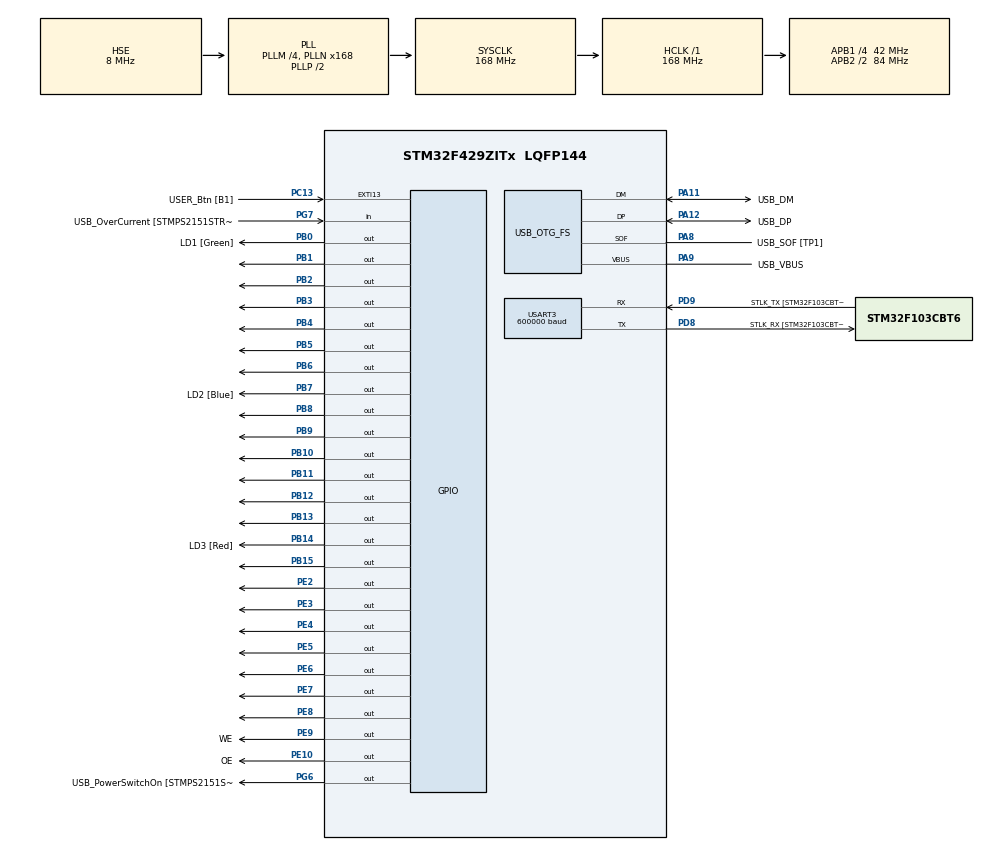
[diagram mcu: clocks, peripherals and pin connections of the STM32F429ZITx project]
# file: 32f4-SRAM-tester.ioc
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Mcu.Family=STM32F4
Mcu.Name=STM32F429ZITx
Mcu.Package=LQFP144
NVIC.PriorityGroup=NVIC_PRIORITYGROUP_4
PA1.GPIO_Label=RMII_REF_CLK [LAN8742A-CZ-TR_REFCLK0]
PA1.Signal=ETH_REF_CLK
PA10.GPIO_Label=USB_ID
PA10.Signal=USB_OTG_FS_ID
PA11.GPIO_Label=USB_DM
PA11.Mode=Device_Only
PA11.Signal=USB_OTG_FS_DM
PA12.GPIO_Label=USB_DP
PA12.Mode=Device_Only
PA12.Signal=USB_OTG_FS_DP
PA13.GPIO_Label=TMS
PA13.Mode=Serial_Wire
PA13.Signal=SYS_JTMS-SWDIO
PA14.GPIO_Label=TCK
PA14.Mode=Serial_Wire
PA14.Signal=SYS_JTCK-SWCLK
PA2.GPIO_Label=RMII_MDIO [LAN8742A-CZ-TR_MDIO]
PA2.Signal=ETH_MDIO
PA7.GPIO_Label=RMII_CRS_DV [LAN8742A-CZ-TR_CRS_DV]
PA7.Signal=ETH_CRS_DV
PA8.GPIO_Label=USB_SOF [TP1]
PA8.Mode=Activate_SOF_FS
PA8.Signal=USB_OTG_FS_SOF
PA9.GPIO_Label=USB_VBUS
PA9.Mode=Activate_VBUS
PA9.Signal=USB_OTG_FS_VBUS
PB0.GPIO_Label=LD1 [Green]
PB0.Signal=GPIO_Output
PB1.Signal=GPIO_Output
PB10.Signal=GPIO_Output
PB11.Signal=GPIO_Output
PB12.Signal=GPIO_Output
PB13.Signal=GPIO_Output
PB14.GPIO_Label=LD3 [Red]
PB14.Signal=GPIO_Output
PB15.Signal=GPIO_Output
PB2/BOOT1.Signal=GPIO_Output
PB3.Signal=GPIO_Output
PB4.Signal=GPIO_Output
PB5.Signal=GPIO_Output
PB6.Signal=GPIO_Output
PB7.GPIO_Label=LD2 [Blue]
PB7.Signal=GPIO_Output
PB8.Signal=GPIO_Output
PB9.Signal=GPIO_Output
PC1.GPIO_Label=RMII_MDC [LAN8742A-CZ-TR_MDC]
PC1.Signal=ETH_MDC
PC13.GPIO_Label=USER_Btn [B1]
PC13.Signal=GPXTI13
PC14/OSC32_IN.Mode=LSE-External-Oscillator
PC14/OSC32_IN.Signal=RCC_OSC32_IN
PC15/OSC32_OUT.Mode=LSE-External-Oscillator
PC15/OSC32_OUT.Signal=RCC_OSC32_OUT
PC4.GPIO_Label=RMII_RXD0 [LAN8742A-CZ-TR_RXD0]
PC4.Signal=ETH_RXD0
PC5.GPIO_Label=RMII_RXD1 [LAN8742A-CZ-TR_RXD1]
PC5.Signal=ETH_RXD1
PD8.GPIO_Label=STLK_RX [STM32F103CBT6_PA3]
PD8.Mode=Asynchronous
PD8.Signal=USART3_TX
PD9.GPIO_Label=STLK_TX [STM32F103CBT6_PA2]
PD9.Mode=Asynchronous
PD9.Signal=USART3_RX
PE10.GPIO_Label=OE
PE10.Signal=GPIO_Output
PE2.Signal=GPIO_Output
PE3.Signal=GPIO_Output
PE4.Signal=GPIO_Output
PE5.Signal=GPIO_Output
PE6.Signal=GPIO_Output
PE7.Signal=GPIO_Output
PE8.Signal=GPIO_Output
PE9.GPIO_Label=WE
PE9.Signal=GPIO_Output
PG11.GPIO_Label=RMII_TX_EN [LAN8742A-CZ-TR_TXEN]
PG11.Signal=ETH_TX_EN
PG13.GPIO_Label=RMII_TXD0 [LAN8742A-CZ-TR_TXD0]
PG13.Signal=ETH_TXD0
PG6.GPIO_Label=USB_PowerSwitchOn [STMPS2151STR_EN]
PG6.Signal=GPIO_Output
PG7.GPIO_Label=USB_OverCurrent [STMPS2151STR_FAULT]
PG7.Signal=GPIO_Input
PH0/OSC_IN.GPIO_Label=MCO [STM32F103CBT6_PA8]
PH0/OSC_IN.Mode=HSE-External-Clock-Source
PH0/OSC_IN.Signal=RCC_OSC_IN
PH1/OSC_OUT.Mode=HSE-External-Clock-Source
PH1/OSC_OUT.Signal=RCC_OSC_OUT
ProjectManager.HeapSize=0x200
ProjectManager.StackSize=0x400
ProjectManager.TargetToolchain=STM32CubeIDE
RCC.48MHZClocksFreq_Value=48000000
RCC.AHBFreq_Value=168000000
RCC.APB1CLKDivider=RCC_HCLK_DIV4
RCC.APB1Freq_Value=42000000
RCC.APB1TimFreq_Value=84000000
RCC.APB2CLKDivider=RCC_HCLK_DIV2
RCC.APB2Freq_Value=84000000
RCC.APB2TimCLKDivider=2
RCC.APB2TimFreq_Value=168000000
RCC.CortexFreq_Value=168000000
RCC.HCLKFreq_Value=168000000
RCC.HSE_VALUE=8000000
RCC.HSI_VALUE=16000000
RCC.PLLM=4
RCC.PLLMUL=RCC_PLL_MUL9
RCC.PLLN=168
RCC.PLLQ=7
RCC.PRESCALERUSB=RCC_USBCLKSOURCE_PLL_DIV1_5
RCC.SYSCLKFreq_VALUE=168000000
RCC.SYSCLKSource=RCC_SYSCLKSOURCE_PLLCLK
RCC.SYSCLKSourceVirtual=RCC_SYSCLKSOURCE_PLLCLK
RCC.USBFreq_Value=48000000
RCC.VCOOutputFreq_Value=336000000
USART3.BaudRate=600000
USART3.VirtualMode=VM_ASYNC
USB_OTG_FS.VirtualMode=Device_Only
board=NUCLEO-F429ZI

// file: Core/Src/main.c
/* USER CODE BEGIN Header */
/**
  ******************************************************************************
  * @file           : main.c
  * @brief          : Main program body
  ******************************************************************************
  * @attention
  *
  * <h2><center>&copy; Copyright (c) 2021 STMicroelectronics.
  * All rights reserved.</center></h2>
  *
  * This software component is licensed by ST under BSD 3-Clause license,
  * the "License"; You may not use this file except in compliance with the
  * License. You may obtain a copy of the License at:
  *                        opensource.org/licenses/BSD-3-Clause
  *
  ******************************************************************************
  */
/* USER CODE END Header */
#include "main.h"

/* USER CODE BEGIN PTD */
#ifdef __GNUC__
#define PUTCHAR_PROTOTYPE int __io_putchar(int ch)
#define GETCHAR_PROTOTYPE int __io_getchar(void)
/* With GCC, small printf (option LD Linker->Libraries->Small printf
   set to 'Yes') calls __io_putchar() */
#else
#define PUTCHAR_PROTOTYPE int fputc(int ch, FILE *f)
#define GETCHAR_PROTOTYPE int getc(FILE *f)
#endif /* __GNUC__ */
/* USER CODE END PTD */

UART_HandleTypeDef huart3;

PCD_HandleTypeDef hpcd_USB_OTG_FS;

void SystemClock_Config(void);
static void MX_GPIO_Init(void);
static void MX_USART3_UART_Init(void);
static void MX_USB_OTG_FS_PCD_Init(void);

int main(void)
{

  /* MCU Configuration--------------------------------------------------------*/

  /* Reset of all peripherals, Initializes the Flash interface and the Systick. */
  HAL_Init();

  /* Configure the system clock */
  SystemClock_Config();

  /* Initialize all configured peripherals */
  MX_GPIO_Init();
  MX_USART3_UART_Init();
  MX_USB_OTG_FS_PCD_Init();
  /* USER CODE BEGIN 2 */
  /*
   * PB[0-7] -> IO[1-8]
   * PB[8-15] -> A[0-7]
   * PE[2-8] -> A[8-14]
   * PE9 -> WE#
   * PE10 -> OE#
   */
  unsigned int errors = 0;
  unsigned int maxaddress = 32768;
  /* USER CODE END 2 */

  /* Infinite loop */
  /* USER CODE BEGIN WHILE */
  while (1)
  {
	  printf("writing alternating pattern to SRAM\n\r");
	  GPIOB->MODER = (GPIOB->MODER & ~0xFFFF) | 0b0101010101010101; //make PB0-7 outputs

	  HAL_GPIO_WritePin(GPIOE, OE_Pin, GPIO_PIN_SET);//output enable pulled up, chip in write mode or high z depending on WE
	  HAL_GPIO_WritePin(GPIOE, WE_Pin, GPIO_PIN_RESET);//Write enable pulled down, chip in write mode

	  for(unsigned int address = 0; address < maxaddress; ++address){//iterate over 32768 addresses
		  uint8_t pattern;
		  if(address%2==0) pattern = 0xAA;//always write 0xAA to even addresses
		  else{
			  if(address%3 ==0) pattern = 0xBB;//write 0xBB or 0x55 to odd addresses based on whether it can be divided by three
			  else pattern = 0x55;
		  }
		  GPIOB->ODR = pattern | ((address & 0xFF)<<8);//lower 8 bytes of PORTB is data, upper 8 bits correspond to first 8 bits of address
		  GPIOE->ODR = (GPIOE->ODR & ~(0b1111111<<2)) | ((address & 0x7F00)>>6);//mask first 8 bits of the address, shift if by 6 to the left and write it to pe2-8

		  HAL_GPIO_WritePin(GPIOE, WE_Pin, GPIO_PIN_RESET);//Write enable pulled down, chip in write mode
		  HAL_GPIO_WritePin(GPIOE, WE_Pin, GPIO_PIN_SET);//Write enable pulled up, chip in high z
	  }
	  HAL_GPIO_WritePin(GPIOE, WE_Pin, GPIO_PIN_SET);//Write enable pulled up, chip in high z or dout depending on OE
	  HAL_GPIO_WritePin(GPIOE, OE_Pin, GPIO_PIN_SET);//output enable pulled up, chip in high z

	  printf("Reading pattern from SRAM\n\r");
	  GPIOB->MODER &=  ~0xFFFF; //make PB0-7 inputs by setting first 16 bits to 0
	  for(unsigned int address = 0; address < maxaddress; ++address){//iterate over 32768 addresses
		  uint8_t pattern, readval;
		  if(address%2==0) pattern = 0xAA;//always write 0xAA to even addresses
		  else{
			  if(address%3 ==0) pattern = 0xBB;//write 0xBB or 0x55 to odd addresses based on whether it can be divided by three
			  else pattern = 0x55;
		  }
		  GPIOB->ODR = (GPIOB->ODR & ~(0xFF<<8)) | ((address & 0xFF)<<8);//write first 8 bits of athe ddress to upper 8 bits of GPIOB
		  GPIOE->ODR = (GPIOE->ODR & ~(0b1111111<<2)) | ((address & 0x7F00)>>6);//mask first 8 bits of the address, shift if by 6 to the left and write it to pe2-8

		  HAL_GPIO_WritePin(GPIOE, OE_Pin, GPIO_PIN_RESET);//address written, put chip in dout

		  readval = GPIOB->IDR & 0xFF;//store values of read from pb0-7 in a variable
		  if(readval != pattern){
			  ++errors;
			  printf("Pattern mismatch at %i. Expected %u but read %u.\n\r", address, (unsigned int)pattern, (unsigned int)readval);
		  }
		  HAL_GPIO_WritePin(GPIOE, OE_Pin, GPIO_PIN_SET);//output enable pulled up, chip in high z

	  }
	  printf("Found %i errors.\n\r", errors);
	  HAL_Delay(5000);
    /* USER CODE END WHILE */

  }
}

void SystemClock_Config(void)
{
  RCC_OscInitTypeDef RCC_OscInitStruct = {0};
  RCC_ClkInitTypeDef RCC_ClkInitStruct = {0};

  /** Configure the main internal regulator output voltage
  */
  __HAL_RCC_PWR_CLK_ENABLE();
  __HAL_PWR_VOLTAGESCALING_CONFIG(PWR_REGULATOR_VOLTAGE_SCALE1);
  /** Initializes the RCC Oscillators according to the specified parameters
  * in the RCC_OscInitTypeDef structure.
  */
  RCC_OscInitStruct.OscillatorType = RCC_OSCILLATORTYPE_HSE;
  RCC_OscInitStruct.HSEState = RCC_HSE_BYPASS;
  RCC_OscInitStruct.PLL.PLLState = RCC_PLL_ON;
  RCC_OscInitStruct.PLL.PLLSource = RCC_PLLSOURCE_HSE;
  RCC_OscInitStruct.PLL.PLLM = 4;
  RCC_OscInitStruct.PLL.PLLN = 168;
  RCC_OscInitStruct.PLL.PLLP = RCC_PLLP_DIV2;
  RCC_OscInitStruct.PLL.PLLQ = 7;
  if (HAL_RCC_OscConfig(&RCC_OscInitStruct) != HAL_OK)
  {
    Error_Handler();
  }
  /** Initializes the CPU, AHB and APB buses clocks
  */
  RCC_ClkInitStruct.ClockType = RCC_CLOCKTYPE_HCLK|RCC_CLOCKTYPE_SYSCLK
                              |RCC_CLOCKTYPE_PCLK1|RCC_CLOCKTYPE_PCLK2;
  RCC_ClkInitStruct.SYSCLKSource = RCC_SYSCLKSOURCE_PLLCLK;
  RCC_ClkInitStruct.AHBCLKDivider = RCC_SYSCLK_DIV1;
  RCC_ClkInitStruct.APB1CLKDivider = RCC_HCLK_DIV4;
  RCC_ClkInitStruct.APB2CLKDivider = RCC_HCLK_DIV2;

  if (HAL_RCC_ClockConfig(&RCC_ClkInitStruct, FLASH_LATENCY_5) != HAL_OK)
  {
    Error_Handler();
  }
}

static void MX_USART3_UART_Init(void)
{

  huart3.Instance = USART3;
  huart3.Init.BaudRate = 600000;
  huart3.Init.WordLength = UART_WORDLENGTH_8B;
  huart3.Init.StopBits = UART_STOPBITS_1;
  huart3.Init.Parity = UART_PARITY_NONE;
  huart3.Init.Mode = UART_MODE_TX_RX;
  huart3.Init.HwFlowCtl = UART_HWCONTROL_NONE;
  huart3.Init.OverSampling = UART_OVERSAMPLING_16;
  if (HAL_UART_Init(&huart3) != HAL_OK)
  {
    Error_Handler();
  }

}

static void MX_USB_OTG_FS_PCD_Init(void)
{

  hpcd_USB_OTG_FS.Instance = USB_OTG_FS;
  hpcd_USB_OTG_FS.Init.dev_endpoints = 4;
  hpcd_USB_OTG_FS.Init.speed = PCD_SPEED_FULL;
  hpcd_USB_OTG_FS.Init.dma_enable = DISABLE;
  hpcd_USB_OTG_FS.Init.phy_itface = PCD_PHY_EMBEDDED;
  hpcd_USB_OTG_FS.Init.Sof_enable = ENABLE;
  hpcd_USB_OTG_FS.Init.low_power_enable = DISABLE;
  hpcd_USB_OTG_FS.Init.lpm_enable = DISABLE;
  hpcd_USB_OTG_FS.Init.vbus_sensing_enable = ENABLE;
  hpcd_USB_OTG_FS.Init.use_dedicated_ep1 = DISABLE;
  if (HAL_PCD_Init(&hpcd_USB_OTG_FS) != HAL_OK)
  {
    Error_Handler();
  }

}

static void MX_GPIO_Init(void)
{
  GPIO_InitTypeDef GPIO_InitStruct = {0};

  /* GPIO Ports Clock Enable */
  __HAL_RCC_GPIOE_CLK_ENABLE();
  __HAL_RCC_GPIOC_CLK_ENABLE();
  __HAL_RCC_GPIOH_CLK_ENABLE();
  __HAL_RCC_GPIOA_CLK_ENABLE();
  __HAL_RCC_GPIOB_CLK_ENABLE();
  __HAL_RCC_GPIOD_CLK_ENABLE();
  __HAL_RCC_GPIOG_CLK_ENABLE();

  /*Configure GPIO pin Output Level */
  HAL_GPIO_WritePin(GPIOE, GPIO_PIN_2|GPIO_PIN_3|GPIO_PIN_4|GPIO_PIN_5
                          |GPIO_PIN_6|GPIO_PIN_7|GPIO_PIN_8|WE_Pin
                          |OE_Pin, GPIO_PIN_RESET);

  /*Configure GPIO pin Output Level */
  HAL_GPIO_WritePin(GPIOB, LD1_Pin|GPIO_PIN_1|GPIO_PIN_2|GPIO_PIN_10
                          |GPIO_PIN_11|GPIO_PIN_12|GPIO_PIN_13|LD3_Pin
                          |GPIO_PIN_15|GPIO_PIN_3|GPIO_PIN_4|GPIO_PIN_5
                          |GPIO_PIN_6|LD2_Pin|GPIO_PIN_8|GPIO_PIN_9, GPIO_PIN_RESET);

  /*Configure GPIO pin Output Level */
  HAL_GPIO_WritePin(USB_PowerSwitchOn_GPIO_Port, USB_PowerSwitchOn_Pin, GPIO_PIN_RESET);

  /*Configure GPIO pins : PE2 PE3 PE4 PE5
                           PE6 PE7 PE8 WE_Pin
                           OE_Pin */
  GPIO_InitStruct.Pin = GPIO_PIN_2|GPIO_PIN_3|GPIO_PIN_4|GPIO_PIN_5
                          |GPIO_PIN_6|GPIO_PIN_7|GPIO_PIN_8|WE_Pin
                          |OE_Pin;
  GPIO_InitStruct.Mode = GPIO_MODE_OUTPUT_PP;
  GPIO_InitStruct.Pull = GPIO_NOPULL;
  GPIO_InitStruct.Speed = GPIO_SPEED_FREQ_LOW;
  HAL_GPIO_Init(GPIOE, &GPIO_InitStruct);

  /*Configure GPIO pin : USER_Btn_Pin */
  GPIO_InitStruct.Pin = USER_Btn_Pin;
  GPIO_InitStruct.Mode = GPIO_MODE_IT_RISING;
  GPIO_InitStruct.Pull = GPIO_NOPULL;
  HAL_GPIO_Init(USER_Btn_GPIO_Port, &GPIO_InitStruct);

  /*Configure GPIO pins : RMII_MDC_Pin RMII_RXD0_Pin RMII_RXD1_Pin */
  GPIO_InitStruct.Pin = RMII_MDC_Pin|RMII_RXD0_Pin|RMII_RXD1_Pin;
  GPIO_InitStruct.Mode = GPIO_MODE_AF_PP;
  GPIO_InitStruct.Pull = GPIO_NOPULL;
  GPIO_InitStruct.Speed = GPIO_SPEED_FREQ_VERY_HIGH;
  GPIO_InitStruct.Alternate = GPIO_AF11_ETH;
  HAL_GPIO_Init(GPIOC, &GPIO_InitStruct);

  /*Configure GPIO pins : RMII_REF_CLK_Pin RMII_MDIO_Pin RMII_CRS_DV_Pin */
  GPIO_InitStruct.Pin = RMII_REF_CLK_Pin|RMII_MDIO_Pin|RMII_CRS_DV_Pin;
  GPIO_InitStruct.Mode = GPIO_MODE_AF_PP;
  GPIO_InitStruct.Pull = GPIO_NOPULL;
  GPIO_InitStruct.Speed = GPIO_SPEED_FREQ_VERY_HIGH;
  GPIO_InitStruct.Alternate = GPIO_AF11_ETH;
  HAL_GPIO_Init(GPIOA, &GPIO_InitStruct);

  /*Configure GPIO pins : LD1_Pin PB1 PB2 PB10
                           PB11 PB12 PB13 LD3_Pin
                           PB15 PB3 PB4 PB5
                           PB6 LD2_Pin PB8 PB9 */
  GPIO_InitStruct.Pin = LD1_Pin|GPIO_PIN_1|GPIO_PIN_2|GPIO_PIN_10
                          |GPIO_PIN_11|GPIO_PIN_12|GPIO_PIN_13|LD3_Pin
                          |GPIO_PIN_15|GPIO_PIN_3|GPIO_PIN_4|GPIO_PIN_5
                          |GPIO_PIN_6|LD2_Pin|GPIO_PIN_8|GPIO_PIN_9;
  GPIO_InitStruct.Mode = GPIO_MODE_OUTPUT_PP;
  GPIO_InitStruct.Pull = GPIO_NOPULL;
  GPIO_InitStruct.Speed = GPIO_SPEED_FREQ_LOW;
  HAL_GPIO_Init(GPIOB, &GPIO_InitStruct);

  /*Configure GPIO pin : USB_PowerSwitchOn_Pin */
  GPIO_InitStruct.Pin = USB_PowerSwitchOn_Pin;
  GPIO_InitStruct.Mode = GPIO_MODE_OUTPUT_PP;
  GPIO_InitStruct.Pull = GPIO_NOPULL;
  GPIO_InitStruct.Speed = GPIO_SPEED_FREQ_LOW;
  HAL_GPIO_Init(USB_PowerSwitchOn_GPIO_Port, &GPIO_InitStruct);

  /*Configure GPIO pin : USB_OverCurrent_Pin */
  GPIO_InitStruct.Pin = USB_OverCurrent_Pin;
  GPIO_InitStruct.Mode = GPIO_MODE_INPUT;
  GPIO_InitStruct.Pull = GPIO_NOPULL;
  HAL_GPIO_Init(USB_OverCurrent_GPIO_Port, &GPIO_InitStruct);

  /*Configure GPIO pins : RMII_TX_EN_Pin RMII_TXD0_Pin */
  GPIO_InitStruct.Pin = RMII_TX_EN_Pin|RMII_TXD0_Pin;
  GPIO_InitStruct.Mode = GPIO_MODE_AF_PP;
  GPIO_InitStruct.Pull = GPIO_NOPULL;
  GPIO_InitStruct.Speed = GPIO_SPEED_FREQ_VERY_HIGH;
  GPIO_InitStruct.Alternate = GPIO_AF11_ETH;
  HAL_GPIO_Init(GPIOG, &GPIO_InitStruct);

}

/* USER CODE BEGIN 4 */
PUTCHAR_PROTOTYPE
{
  HAL_UART_Transmit(&huart3, (uint8_t *)&ch, 1, 1000);
  return ch;
}

GETCHAR_PROTOTYPE
{
  int ch = 0;
  __HAL_UART_CLEAR_OREFLAG(&huart3);
  HAL_UART_Receive(&huart3, (uint8_t *)&ch, 1, 1000);
  HAL_UART_Transmit(&huart3, (uint8_t *)&ch, 1, 1000);
  return ch;
}
/* USER CODE END 4 */

void Error_Handler(void)
{
  __disable_irq();
  while (1)
  {
  }
}

/************************ (C) COPYRIGHT STMicroelectronics *****END OF FILE****/
